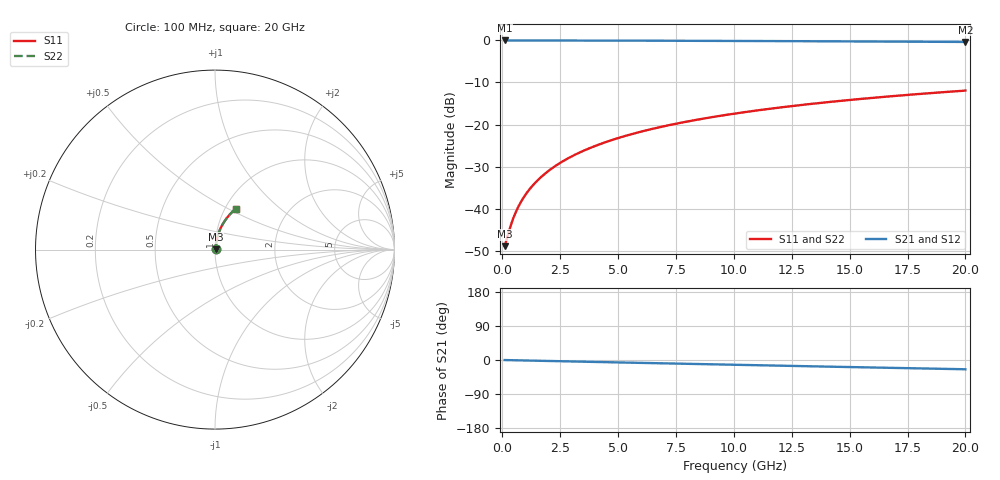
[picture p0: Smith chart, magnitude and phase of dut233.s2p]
! Touchstone file exported from HFSS 2026.1.0
!  File:  C:/ffzhzh/LocalFiles/Ansys_Project_Files/temp_train_BSMRDL_233_1782988283_45328.aedt
!  Generated:  06:32:37 PM Jul  2, 2026
!  Design:  BSMRDL
!  Project:  temp_train_BSMRDL_233_1782988283_45328
! Variables:
!  h_bsmrdl = 3.54um
!  h_ox = 20um
!  h_rdl = 5um
!  h_sub = 80um
!  h_tmrdl = 5um
!  h_tsv = 80um
!  h_via = 3um
!  l_bsmrdl = 338.05um
!  l_sub = 738.05um
!  l_tmrdl = 200um
!  m_sub = 200um
!  pitch = 28.72um
!  r_tsv = 6um
!  s_tmrdl = 10um
!  w_bsmrdl = 10.62um
!  w_sub = 500um
!  w_tmrdl = 12um
!  x_tsv_center1 = 206um
!  x_tsv_center2 = 554.67um
!  x_tsv_center3 = 766.67um
!  x_tsv_center4 = 1115.34um
!  x_tsv_center5 = 1327.34um
!  x_tsv_center6 = 1676.01um
# GHz S MA R 50.000000
! Terminal data exported
! Port[1] = BSM_RDL1_1_T1
! Port[2] = BSM_RDL1_1_T2
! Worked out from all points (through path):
!   200 points, 100 MHz to 20 GHz, reference 50 ohm
!   highest |S21| = -0.03 dB at 100 MHz (marker M1); lowest = -0.4 dB at 20 GHz (marker M2)
!   group delay of S21, straight-line fit = 3.4 ps
!   lowest |S11| = -48.9 dB at 100 MHz (marker M3), VSWR 1.01, Z = 50.3 + j0.149 ohm
!   |S11| at or under -10 dB: start of sweep to end of sweep
!   |S22| runs from -48.9 to -11.9 dB; largest |S21 - S12| = 2.7e-15
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0.1  0.003602 24.2  0.9967 -0.1  0.9967 -0.1  0.003602 24.2
! Gamma 0 0 0 0
! Port Impedance 50 0 50 0
0.3  0.005555 52.1  0.9966 -0.4  0.9966 -0.4  0.005555 52.1
0.4  0.00678 59.0  0.9965 -0.5  0.9965 -0.5  0.00678 59.0
0.5  0.008058 63.6  0.9965 -0.7  0.9965 -0.7  0.008058 63.6
0.6  0.009361 66.8  0.9964 -0.8  0.9964 -0.8  0.009361 66.8
0.7  0.01068 69.3  0.9963 -0.9  0.9963 -0.9  0.01068 69.3
0.9  0.01334 72.7  0.9962 -1.2  0.9962 -1.2  0.01334 72.7
1.2  0.01738 75.8  0.9961 -1.6  0.9961 -1.6  0.01738 75.8
1.4  0.02009 77.1  0.996 -1.8  0.996 -1.8  0.02009 77.1
1.7  0.02417 78.4  0.9958 -2.2  0.9958 -2.2  0.02417 78.4
2.2  0.03101 79.6  0.9955 -2.8  0.9955 -2.8  0.03101 79.6
2.8  0.03922 80.2  0.995 -3.6  0.995 -3.6  0.03922 80.2
3.5  0.04879 80.3  0.9944 -4.5  0.9944 -4.5  0.04879 80.3
4.2  0.05832 80.0  0.9936 -5.4  0.9936 -5.4  0.05832 80.0
5  0.06913 79.4  0.9926 -6.4  0.9926 -6.4  0.06913 79.4
5.9  0.0812 78.7  0.9913 -7.5  0.9913 -7.5  0.0812 78.7
6.8  0.09314 77.8  0.9898 -8.6  0.9898 -8.6  0.09314 77.8
8.3  0.1128 76.2  0.9871 -10.5  0.9871 -10.5  0.1128 76.2
10.1  0.1358 74.2  0.9834 -12.7  0.9834 -12.7  0.1358 74.2
13.4  0.1767 70.5  0.9756 -16.7  0.9756 -16.7  0.1767 70.5
16.7  0.2159 66.8  0.9667 -20.6  0.9667 -20.6  0.2159 66.8
20  0.2531 63.1  0.9569 -24.5  0.9569 -24.5  0.2531 63.2
